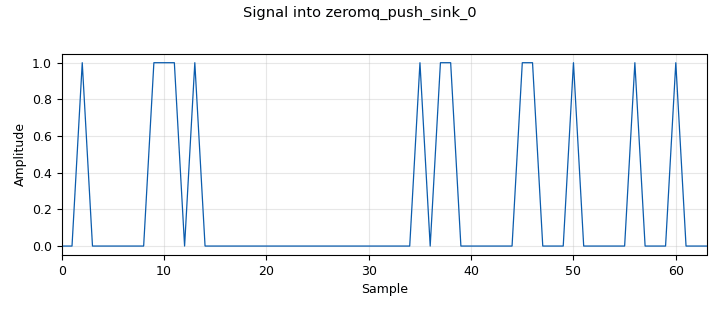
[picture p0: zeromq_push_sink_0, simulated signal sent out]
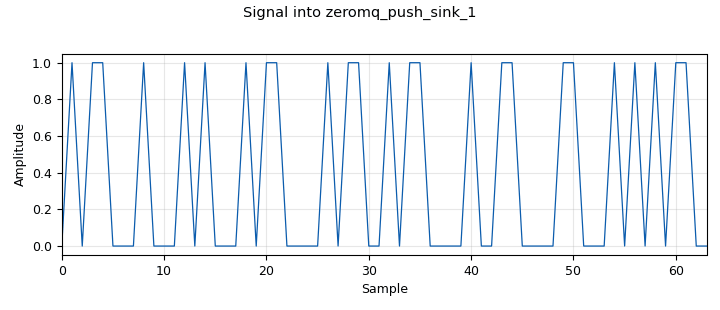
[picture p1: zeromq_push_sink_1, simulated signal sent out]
<?xml version='1.0' encoding='utf-8'?>
<?grc format='1' created='3.7.10'?>
<flow_graph>
<block>
<key>options</key>
<param><key>id</key><value>split1</value></param>
<param><key>category</key><value>Custom</value></param>
<param><key>description</key><value>Split1</value></param>
<param><key>generate_options</key><value>no_gui</value></param>
<param><key>run_options</key><value>run</value></param>
<param><key>title</key><value>Split 1</value></param>
</block>
<block>
<key>variable_function_probe</key>
<param><key>id</key><value>cpu_percent</value></param>
<param><key>block_id</key><value>zcpu</value></param>
<param><key>function_name</key><value>cpu_percent</value></param>
<param><key>value</key><value>0</value></param>
<param><key>poll_rate</key><value>1</value></param>
</block>
<block>
<key>variable</key>
<param><key>id</key><value>fft_len</value></param>
<param><key>value</key><value>64</value></param>
</block>
<block>
<key>variable</key>
<param><key>id</key><value>hdr_format</value></param>
<param><key>value</key><value>digital.header_format_ofdm(occupied_carriers, 1, "packet_len",)</value></param>
</block>
<block>
<key>variable</key>
<param><key>id</key><value>header_mod</value></param>
<param><key>value</key><value>digital.constellation_bpsk()</value></param>
</block>
<block>
<key>variable_config</key>
<param><key>id</key><value>headerport</value></param>
<param><key>config_file</key><value>./default</value></param>
<param><key>value</key><value>"2100"</value></param>
<param><key>option</key><value>"headerport"</value></param>
<param><key>section</key><value>"split1"</value></param>
<param><key>type</key><value>string</value></param>
<param><key>writeback</key><value>None</value></param>
</block>
<block>
<key>variable_config</key>
<param><key>id</key><value>ip</value></param>
<param><key>config_file</key><value>./default</value></param>
<param><key>value</key><value>"127.0.0.1"</value></param>
<param><key>option</key><value>"ip"</value></param>
<param><key>section</key><value>"split1"</value></param>
<param><key>type</key><value>string</value></param>
<param><key>writeback</key><value>None</value></param>
</block>
<block>
<key>variable_function_probe</key>
<param><key>id</key><value>iq_rxrate</value></param>
<param><key>block_id</key><value>ziq_rxrate</value></param>
<param><key>function_name</key><value>rate</value></param>
<param><key>value</key><value>0</value></param>
<param><key>poll_rate</key><value>10</value></param>
</block>
<block>
<key>variable_config</key>
<param><key>id</key><value>maxnoutput</value></param>
<param><key>config_file</key><value>./default</value></param>
<param><key>value</key><value>100</value></param>
<param><key>option</key><value>"maxnoutput"</value></param>
<param><key>section</key><value>"global"</value></param>
<param><key>type</key><value>int</value></param>
<param><key>writeback</key><value>None</value></param>
</block>
<block>
<key>variable</key>
<param><key>id</key><value>occupied_carriers</value></param>
<param><key>value</key><value>(sorted(tuple(set([x for x in range(-26, 27)]) - set(pilot_carriers[0]) - set([0,]))),)</value></param>
</block>
<block>
<key>variable</key>
<param><key>id</key><value>pattern1</value></param>
<param><key>value</key><value>[0., 1.41421356, 0., -1.41421356]</value></param>
</block>
<block>
<key>variable</key>
<param><key>id</key><value>pattern2</value></param>
<param><key>value</key><value>[1, -1, 1, -1]</value></param>
</block>
<block>
<key>variable</key>
<param><key>id</key><value>payload_mod</value></param>
<param><key>value</key><value>digital.constellation_bpsk()</value></param>
</block>
<block>
<key>variable_config</key>
<param><key>id</key><value>payloadport</value></param>
<param><key>config_file</key><value>./default</value></param>
<param><key>value</key><value>"2101"</value></param>
<param><key>option</key><value>"payloadport"</value></param>
<param><key>section</key><value>"split1"</value></param>
<param><key>type</key><value>string</value></param>
<param><key>writeback</key><value>None</value></param>
</block>
<block>
<key>variable</key>
<param><key>id</key><value>pilot_carriers</value></param>
<param><key>value</key><value>((-27, -14, -7, 7, 14, 27),)</value></param>
</block>
<block>
<key>variable</key>
<param><key>id</key><value>pilot_symbols</value></param>
<param><key>value</key><value>((-1,1, 1, -1, -1, -1),)</value></param>
</block>
<block>
<key>variable_function_probe</key>
<param><key>id</key><value>rate0</value></param>
<param><key>block_id</key><value>probe1_0</value></param>
<param><key>function_name</key><value>rate</value></param>
<param><key>value</key><value>0</value></param>
<param><key>poll_rate</key><value>10</value></param>
</block>
<block>
<key>variable_function_probe</key>
<param><key>id</key><value>rate1</value></param>
<param><key>block_id</key><value>probe1_1</value></param>
<param><key>function_name</key><value>rate</value></param>
<param><key>value</key><value>0</value></param>
<param><key>poll_rate</key><value>10</value></param>
</block>
<block>
<key>variable_function_probe</key>
<param><key>id</key><value>rateRx</value></param>
<param><key>block_id</key><value>probe1_1_0</value></param>
<param><key>function_name</key><value>rate</value></param>
<param><key>value</key><value>0</value></param>
<param><key>poll_rate</key><value>10</value></param>
</block>
<block>
<key>variable_config</key>
<param><key>id</key><value>rxport</value></param>
<param><key>config_file</key><value>./default</value></param>
<param><key>value</key><value>"2666"</value></param>
<param><key>option</key><value>"rxport1"</value></param>
<param><key>section</key><value>"usrp_hydra"</value></param>
<param><key>type</key><value>string</value></param>
<param><key>writeback</key><value>None</value></param>
</block>
<block>
<key>variable</key>
<param><key>id</key><value>sync_word1</value></param>
<param><key>value</key><value>[0., 0., 0., 0., 0., 0.,] + pattern1 * ((fft_len-12)/len(pattern1))  +[0., 0., 0., 0., 0., 0.,] </value></param>
</block>
<block>
<key>variable</key>
<param><key>id</key><value>sync_word2</value></param>
<param><key>value</key><value>[0., 0., 0., 0., 0., 0.,] + pattern2 * ((fft_len-12)/len(pattern2))  +[0., 0., 0., 0., 0., 0.,] </value></param>
</block>
<block>
<key>variable_config</key>
<param><key>id</key><value>timeout</value></param>
<param><key>config_file</key><value>./default</value></param>
<param><key>value</key><value>100</value></param>
<param><key>option</key><value>"zmqtimeout"</value></param>
<param><key>section</key><value>"global"</value></param>
<param><key>type</key><value>int</value></param>
<param><key>writeback</key><value>None</value></param>
</block>
<block>
<key>variable_config</key>
<param><key>id</key><value>usrpip</value></param>
<param><key>config_file</key><value>./default</value></param>
<param><key>value</key><value>"127.0.0.1"</value></param>
<param><key>option</key><value>"ip"</value></param>
<param><key>section</key><value>"usrp_hydra"</value></param>
<param><key>type</key><value>string</value></param>
<param><key>writeback</key><value>None</value></param>
</block>
<block>
<key>variable_config</key>
<param><key>id</key><value>xmlrpcport</value></param>
<param><key>config_file</key><value>default</value></param>
<param><key>value</key><value>8080</value></param>
<param><key>option</key><value>"xmlrpcport"</value></param>
<param><key>section</key><value>"split1"</value></param>
<param><key>type</key><value>int</value></param>
<param><key>writeback</key><value>None</value></param>
</block>
<block>
<key>variable</key>
<param><key>id</key><value>zcpu</value></param>
<param><key>value</key><value>psutil</value></param>
</block>
<block>
<key>import</key>
<param><key>id</key><value>acpu</value></param>
<param><key>import</key><value>import psutil</value></param>
</block>
<block>
<key>analog_random_source_x</key>
<param><key>id</key><value>analog_random_source_x_0</value></param>
<param><key>max</key><value>100</value></param>
<param><key>min</key><value>0</value></param>
<param><key>num_samps</key><value>1000</value></param>
<param><key>type</key><value>byte</value></param>
<param><key>repeat</key><value>True</value></param>
</block>
<block>
<key>blocks_repack_bits_bb</key>
<param><key>id</key><value>blocks_repack_bits_bb_0</value></param>
<param><key>k</key><value>8</value></param>
<param><key>l</key><value>payload_mod.bits_per_symbol()</value></param>
<param><key>endianness</key><value>gr.GR_LSB_FIRST</value></param>
<param><key>len_tag_key</key><value>"packet_len"</value></param>
</block>
<block>
<key>blocks_repack_bits_bb</key>
<param><key>id</key><value>blocks_repack_bits_bb_0_0</value></param>
<param><key>k</key><value>8</value></param>
<param><key>l</key><value>1</value></param>
<param><key>endianness</key><value>gr.GR_LSB_FIRST</value></param>
<param><key>len_tag_key</key><value>"packet_len"</value></param>
</block>
<block>
<key>blocks_stream_to_tagged_stream</key>
<param><key>id</key><value>blocks_stream_to_tagged_stream_0</value></param>
<param><key>len_tag_key</key><value>"packet_len"</value></param>
<param><key>packet_len</key><value>100</value></param>
<param><key>type</key><value>byte</value></param>
</block>
<block>
<key>blocks_tag_debug</key>
<param><key>id</key><value>blocks_tag_debug_0</value></param>
<param><key>type</key><value>byte</value></param>
<param><key>name</key><value>RX'd Packets</value></param>
</block>
<block>
<key>blocks_tag_debug</key>
<param><key>id</key><value>blocks_tag_debug_0_0</value></param>
<param><key>_enabled</key><value>0</value></param>
<param><key>type</key><value>byte</value></param>
<param><key>name</key><value>TX'd Packets</value></param>
</block>
<block>
<key>blocks_tag_debug</key>
<param><key>id</key><value>blocks_tag_debug_0_1</value></param>
<param><key>type</key><value>complex</value></param>
<param><key>name</key><value>RX'd IQ</value></param>
</block>
<block>
<key>blocks_throttle</key>
<param><key>id</key><value>blocks_throttle_0</value></param>
<param><key>samples_per_second</key><value>300e3</value></param>
<param><key>type</key><value>byte</value></param>
</block>
<block>
<key>blocks_throttle</key>
<param><key>id</key><value>blocks_throttle_0_0</value></param>
<param><key>samples_per_second</key><value>300e3</value></param>
<param><key>type</key><value>byte</value></param>
</block>
<block>
<key>digital_crc32_bb</key>
<param><key>id</key><value>digital_crc32_bb_0</value></param>
<param><key>lengthtagname</key><value>"packet_len"</value></param>
<param><key>check</key><value>False</value></param>
<param><key>packed</key><value>True</value></param>
</block>
<block>
<key>digital_ofdm_rx</key>
<param><key>id</key><value>digital_ofdm_rx_0</value></param>
<param><key>cp_len</key><value>16</value></param>
<param><key>fft_len</key><value>fft_len</value></param>
<param><key>header_mod</key><value>"BPSK"</value></param>
<param><key>occupied_carriers</key><value>occupied_carriers</value></param>
<param><key>packet_len_key</key><value>"packet_len"</value></param>
<param><key>payload_mod</key><value>"BPSK"</value></param>
<param><key>pilot_carriers</key><value>pilot_carriers</value></param>
<param><key>pilot_symbols</key><value>pilot_symbols</value></param>
<param><key>sync_word1</key><value>sync_word1</value></param>
<param><key>sync_word2</key><value>sync_word2</value></param>
</block>
<block>
<key>digital_protocol_formatter_bb</key>
<param><key>id</key><value>digital_protocol_formatter_bb_0</value></param>
<param><key>format</key><value>hdr_format</value></param>
<param><key>len_tag_key</key><value>"packet_len"</value></param>
</block>
<block>
<key>blocks_probe_rate</key>
<param><key>id</key><value>probe1_0</value></param>
<param><key>type</key><value>byte</value></param>
<param><key>mintime</key><value>500.0</value></param>
<param><key>alpha</key><value>0.15</value></param>
</block>
<block>
<key>blocks_probe_rate</key>
<param><key>id</key><value>probe1_1</value></param>
<param><key>type</key><value>byte</value></param>
<param><key>mintime</key><value>500.0</value></param>
<param><key>alpha</key><value>0.15</value></param>
</block>
<block>
<key>blocks_probe_rate</key>
<param><key>id</key><value>probe1_1_0</value></param>
<param><key>type</key><value>byte</value></param>
<param><key>mintime</key><value>500.0</value></param>
<param><key>alpha</key><value>0.15</value></param>
</block>
<block>
<key>xmlrpc_server</key>
<param><key>id</key><value>xmlrpc_server_0</value></param>
<param><key>addr</key><value>ip</value></param>
<param><key>port</key><value>xmlrpcport</value></param>
</block>
<block>
<key>zeromq_pull_source</key>
<param><key>id</key><value>zeromq_pull_source_0</value></param>
<param><key>address</key><value>"tcp://" + usrpip + ":" + rxport</value></param>
<param><key>type</key><value>complex</value></param>
<param><key>pass_tags</key><value>True</value></param>
<param><key>timeout</key><value>100</value></param>
</block>
<block>
<key>zeromq_push_sink</key>
<param><key>id</key><value>zeromq_push_sink_0</value></param>
<param><key>address</key><value>"tcp://" + ip + ":" + headerport</value></param>
<param><key>type</key><value>byte</value></param>
<param><key>pass_tags</key><value>True</value></param>
<param><key>timeout</key><value>timeout</value></param>
</block>
<block>
<key>zeromq_push_sink</key>
<param><key>id</key><value>zeromq_push_sink_1</value></param>
<param><key>address</key><value>"tcp://" + ip + ":" + payloadport</value></param>
<param><key>type</key><value>byte</value></param>
<param><key>pass_tags</key><value>True</value></param>
<param><key>timeout</key><value>timeout</value></param>
</block>
<block>
<key>blocks_probe_rate</key>
<param><key>id</key><value>ziq_rxrate</value></param>
<param><key>type</key><value>complex</value></param>
<param><key>mintime</key><value>2000</value></param>
<param><key>alpha</key><value>0.15</value></param>
</block>
<connection><source_block_id>analog_random_source_x_0</source_block_id><sink_block_id>blocks_stream_to_tagged_stream_0</sink_block_id><source_key>0</source_key><sink_key>0</sink_key></connection>
<connection><source_block_id>blocks_repack_bits_bb_0</source_block_id><sink_block_id>blocks_throttle_0</sink_block_id><source_key>0</source_key><sink_key>0</sink_key></connection>
<connection><source_block_id>blocks_repack_bits_bb_0</source_block_id><sink_block_id>probe1_1</sink_block_id><source_key>0</source_key><sink_key>0</sink_key></connection>
<connection><source_block_id>blocks_repack_bits_bb_0_0</source_block_id><sink_block_id>blocks_throttle_0_0</sink_block_id><source_key>0</source_key><sink_key>0</sink_key></connection>
<connection><source_block_id>blocks_repack_bits_bb_0_0</source_block_id><sink_block_id>probe1_0</sink_block_id><source_key>0</source_key><sink_key>0</sink_key></connection>
<connection><source_block_id>blocks_stream_to_tagged_stream_0</source_block_id><sink_block_id>blocks_tag_debug_0_0</sink_block_id><source_key>0</source_key><sink_key>0</sink_key></connection>
<connection><source_block_id>blocks_stream_to_tagged_stream_0</source_block_id><sink_block_id>digital_crc32_bb_0</sink_block_id><source_key>0</source_key><sink_key>0</sink_key></connection>
<connection><source_block_id>blocks_throttle_0</source_block_id><sink_block_id>zeromq_push_sink_1</sink_block_id><source_key>0</source_key><sink_key>0</sink_key></connection>
<connection><source_block_id>blocks_throttle_0_0</source_block_id><sink_block_id>zeromq_push_sink_0</sink_block_id><source_key>0</source_key><sink_key>0</sink_key></connection>
<connection><source_block_id>digital_crc32_bb_0</source_block_id><sink_block_id>blocks_repack_bits_bb_0</sink_block_id><source_key>0</source_key><sink_key>0</sink_key></connection>
<connection><source_block_id>digital_crc32_bb_0</source_block_id><sink_block_id>digital_protocol_formatter_bb_0</sink_block_id><source_key>0</source_key><sink_key>0</sink_key></connection>
<connection><source_block_id>digital_ofdm_rx_0</source_block_id><sink_block_id>blocks_tag_debug_0</sink_block_id><source_key>0</source_key><sink_key>0</sink_key></connection>
<connection><source_block_id>digital_ofdm_rx_0</source_block_id><sink_block_id>probe1_1_0</sink_block_id><source_key>0</source_key><sink_key>0</sink_key></connection>
<connection><source_block_id>digital_protocol_formatter_bb_0</source_block_id><sink_block_id>blocks_repack_bits_bb_0_0</sink_block_id><source_key>0</source_key><sink_key>0</sink_key></connection>
<connection><source_block_id>zeromq_pull_source_0</source_block_id><sink_block_id>blocks_tag_debug_0_1</sink_block_id><source_key>0</source_key><sink_key>0</sink_key></connection>
<connection><source_block_id>zeromq_pull_source_0</source_block_id><sink_block_id>digital_ofdm_rx_0</sink_block_id><source_key>0</source_key><sink_key>0</sink_key></connection>
<connection><source_block_id>zeromq_pull_source_0</source_block_id><sink_block_id>ziq_rxrate</sink_block_id><source_key>0</source_key><sink_key>0</sink_key></connection>
</flow_graph>
